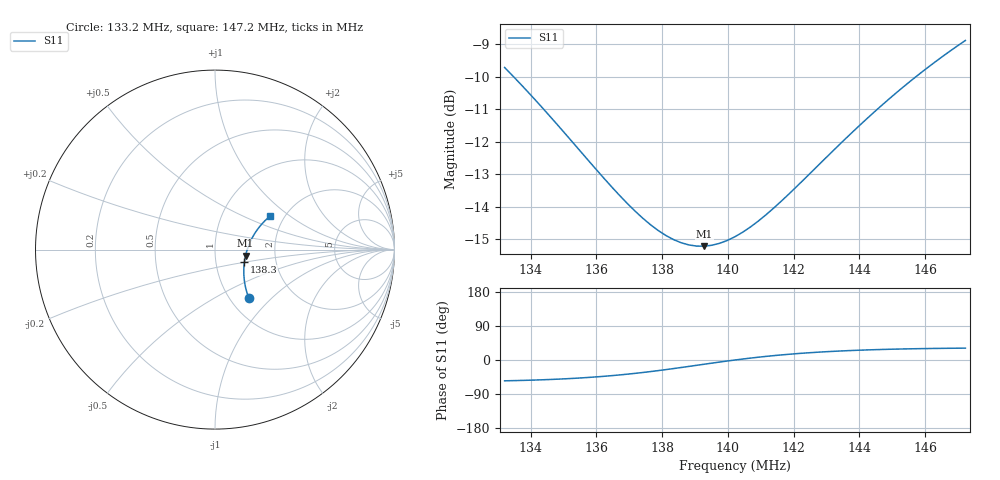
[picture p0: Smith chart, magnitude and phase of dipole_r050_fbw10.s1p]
! Free-space dipole, 1.0 m, 5.0 mm radius
! resonance 140.22 MHz, antenna Q 5.1, fractional bandwidth 10%
! generated with NEC via necpp
# MHZ S MA R 50
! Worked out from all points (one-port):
!   61 points, 133.2 MHz to 147.2 MHz, reference 50 ohm
!   lowest |S11| = -15.2 dB at 139.3 MHz (marker M1), VSWR 1.42, Z = 70.3 - j4.85 ohm
!   |S11| at or under -10 dB: 133.5 MHz to 145.7 MHz (12.24 MHz wide, 8.76 % of centre)
!   S11 on the Smith chart (normalised r, x): 133.2 MHz: 1.22, -0.73; 138.3 MHz: 1.38, -0.19; 147.2 MHz: 1.69, +0.73
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133.2076  0.3269 -54.9
134.1424  0.2913 -52.9
135.0772  0.2577 -49.5
136.0119  0.2273 -44.5
136.4793  0.2138 -41.2
136.9467  0.2019 -37.4
137.4141  0.1917 -33.0
137.6478  0.1874 -30.5
138.1152  0.1804 -25.4
138.3489  0.1777 -22.6
138.5826  0.1758 -19.8
138.8163  0.1744 -16.9
139.05  0.1737 -14.0
139.2837  0.1737 -11.1
139.5174  0.1742 -8.2
139.7511  0.1754 -5.4
139.9848  0.1772 -2.7
140.2185  0.1796 0.0
140.4522  0.1825 2.5
140.9196  0.1897 7.3
141.387  0.1985 11.5
142.0881  0.2143 16.7
143.0229  0.2385 22.0
143.724  0.2581 24.9
144.6588  0.2852 27.7
145.5935  0.3126 29.6
146.2946  0.333 30.5
147.2294  0.3597 31.3
